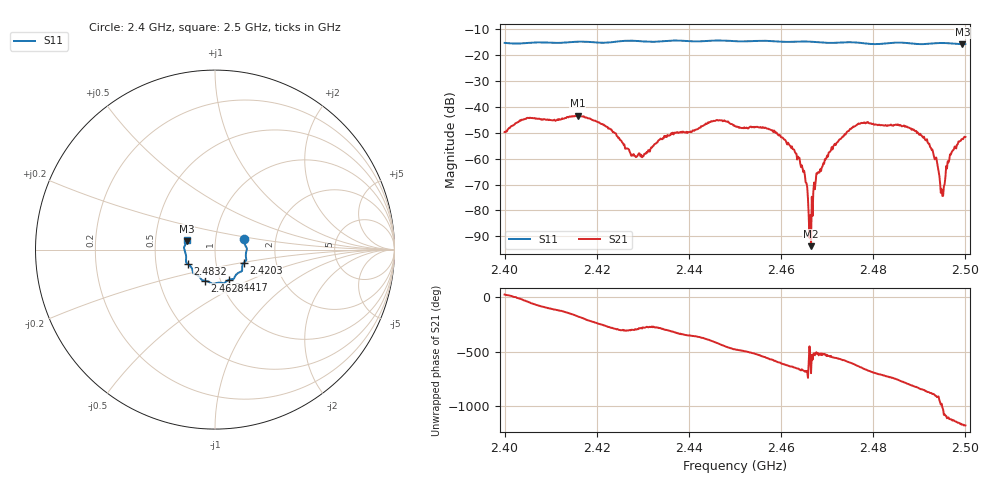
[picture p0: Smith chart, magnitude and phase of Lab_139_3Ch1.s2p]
# Hz S RI R 50
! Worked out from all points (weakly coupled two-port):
!   601 points, 2.4 GHz to 2.5 GHz, reference 50 ohm
!   highest |S21| = -43.30 dB at 2.4158 GHz (marker M1); lowest = -93.8 dB at 2.4665 GHz (marker M2)
!   lowest |S11| = -15.7 dB at 2.4993 GHz (marker M3), VSWR 1.39, Z = 36.2 + j3.4 ohm
!   |S11| at or under -10 dB: start of sweep to end of sweep
!   S12 and S22 are empty: the file has one direction only
!   S11 on the Smith chart (normalised r, x): 2.4 GHz: 1.38, +0.17; 2.4203 GHz: 1.36, -0.21; 2.4417 GHz: 1.09, -0.38; 2.4628 GHz: 0.84, -0.30; 2.4832 GHz: 0.73, -0.12; 2.5 GHz: 0.73, +0.08
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2.4e9  0.1628 0.0602  0.00301 0.00132  0 0  0 0
2.415833e9  0.1743 -0.0567  -0.00682 -0.00054  0 0  0 0
2.416667e9  0.1738 -0.0597  -0.00655 0.000881  0 0  0 0
2.420333e9  0.1595 -0.0737  -0.0023 0.00452  0 0  0 0
2.428e9  0.1475 -0.121  0.000626 0.00106  0 0  0 0
2.433333e9  0.1129 -0.1457  0.000353 0.00221  0 0  0 0
2.441667e9  0.0757 -0.1694  0.00369 -1.51e-05  0 0  0 0
2.45e9  0.0328 -0.1848  -0.002 -0.00377  0 0  0 0
2.457667e9  -0.0183 -0.1881  -0.00319 0.00179  0 0  0 0
2.462833e9  -0.0569 -0.1737  0.000344 0.00146  0 0  0 0
2.4665e9  -0.074 -0.1677  1.87e-05 8.35e-06  0 0  0 0
2.466667e9  -0.0745 -0.1671  -0.00018 -4.04e-05  0 0  0 0
2.468167e9  -0.0797 -0.1598  -0.000537 -7.18e-05  0 0  0 0
2.474167e9  -0.1175 -0.1345  -0.00218 0.00229  0 0  0 0
2.483167e9  -0.152 -0.0794  0.00441 -0.000605  0 0  0 0
2.483333e9  -0.1531 -0.0786  0.00437 -0.000649  0 0  0 0
2.4915e9  -0.1648 -0.0173  -0.00174 -0.00145  0 0  0 0
2.493333e9  -0.1707 -0.00085  -0.000974 -7.42e-05  0 0  0 0
2.495e9  -0.1727 0.00987  5.95e-05 0.000182  0 0  0 0
2.496667e9  -0.1691 0.0202  0.000984 -0.000722  0 0  0 0
2.499333e9  -0.1578 0.0456  0.000188 -0.00241  0 0  0 0
2.5e9  -0.1559 0.0537  -0.000187 -0.00263  0 0  0 0
